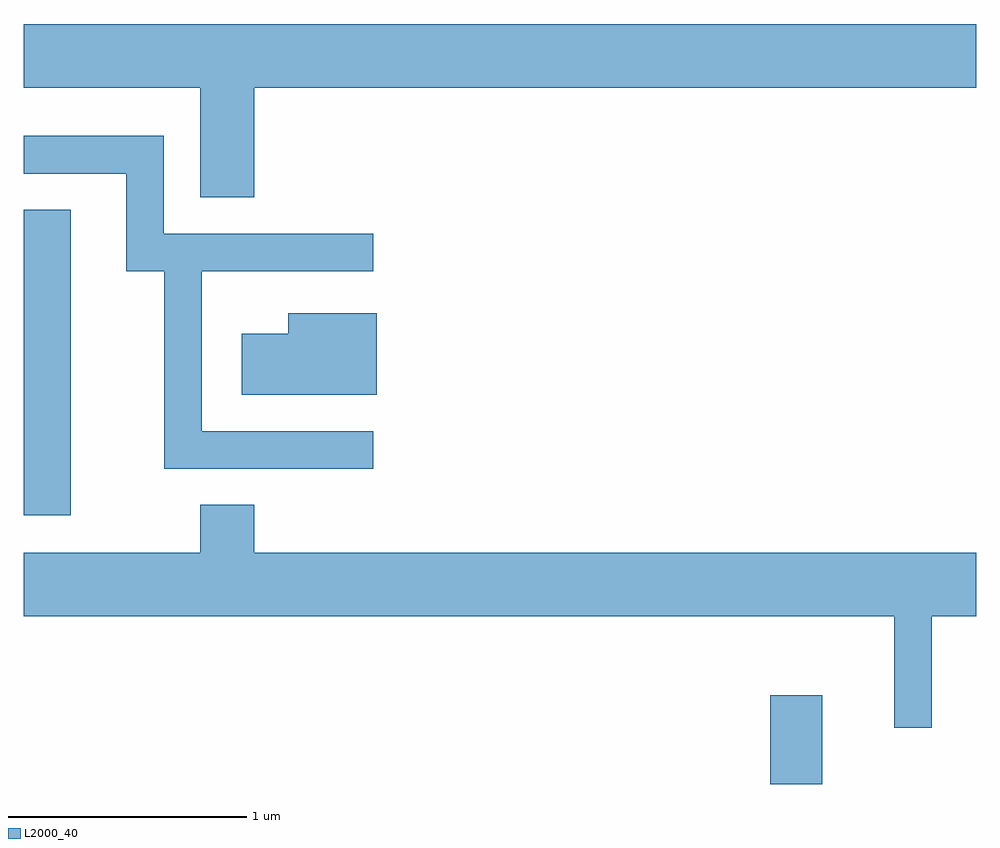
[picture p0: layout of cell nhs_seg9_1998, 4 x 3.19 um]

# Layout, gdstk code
import gdstk
lib = gdstk.Library(unit=1e-6, precision=1e-09)
def R(c, l, rs):  # rectangles x0, y0, x1, y1
    for r in rs: c.add(gdstk.rectangle(r[:2], r[2:], *l))
def P(c, l, *ps):  # polygons
    for p in ps: c.add(gdstk.Polygon(p, *l))
L2000_40 = (2000, 40)

nhs_seg9_1998 = lib.new_cell('nhs_seg9_1998')
R(nhs_seg9_1998, L2000_40, [(246.746,2004.432,246.964,2004.804), (243.611,2005.561,243.809,2006.844)])
P(nhs_seg9_1998, L2000_40, [(244.579,2007.356),(247.611,2007.356),(247.611,2007.624),(243.611,2007.624),(243.611,2007.356),(244.351,2007.356),(244.351,2006.896),(244.579,2006.896)],
  [(245.078,2005.914),(244.359,2005.914),(244.359,2006.586),(245.078,2006.586),(245.078,2006.744),(244.199,2006.744),(244.199,2007.154),(243.611,2007.154),(243.611,2006.996),(244.041,2006.996),(244.041,2006.586),(244.201,2006.586),(244.201,2005.756),(245.078,2005.756)],
  [(245.094,2006.409),(244.721,2006.409),(244.721,2006.324),(244.526,2006.324),(244.526,2006.066),(245.094,2006.066)],
  [(247.424,2005.136),(247.611,2005.136),(247.611,2005.404),(244.579,2005.404),(244.579,2005.604),(244.351,2005.604),(244.351,2005.404),(243.611,2005.404),(243.611,2005.136),(247.266,2005.136),(247.266,2004.668),(247.424,2004.668)])

lib.write_gds('nhs_seg9_1998.gds')
